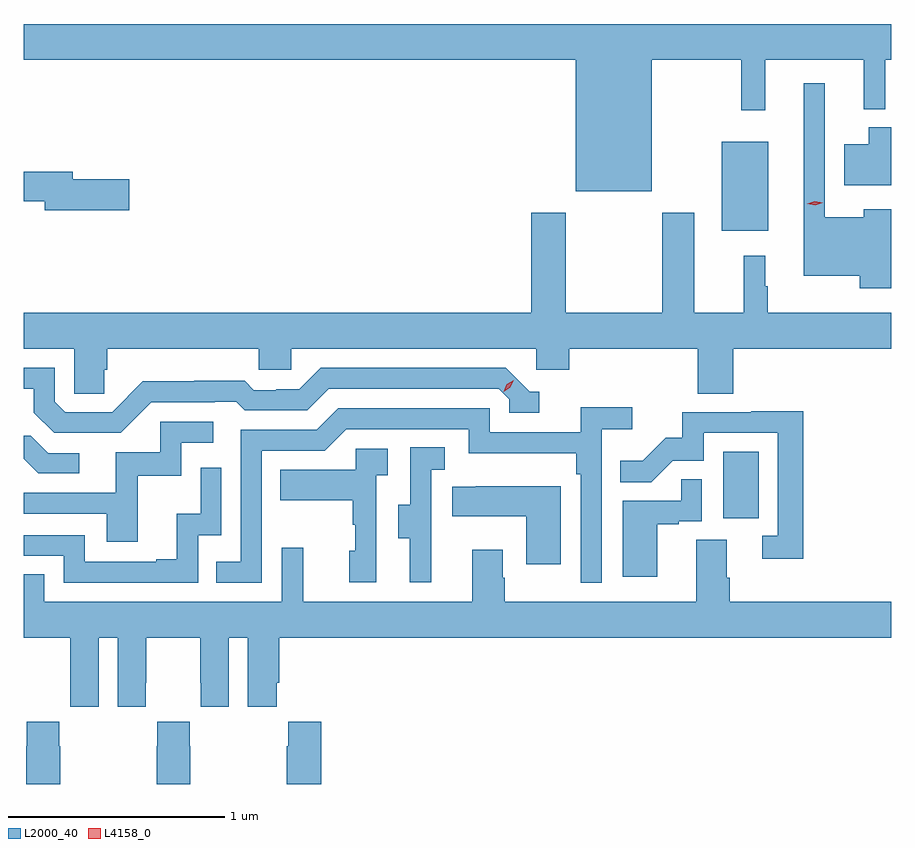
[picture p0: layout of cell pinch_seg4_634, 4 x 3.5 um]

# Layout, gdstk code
import gdstk
lib = gdstk.Library(unit=1e-6, precision=1e-09)
def R(c, l, rs):  # rectangles x0, y0, x1, y1
    for r in rs: c.add(gdstk.rectangle(r[:2], r[2:], *l))
def P(c, l, *ps):  # polygons
    for p in ps: c.add(gdstk.Polygon(p, *l))
L2000_40 = (2000, 40)
L4158_0 = (4158, 0)

pinch_seg4_634 = lib.new_cell('pinch_seg4_634')
R(pinch_seg4_634, L2000_40, [(1075.118,753.414,1075.282,753.721), (1075.112,754.739,1075.327,755.149)])
P(pinch_seg4_634, L2000_40, [(1074.79,755.528),(1075.203,755.528),(1075.203,755.295),(1075.313,755.295),(1075.313,755.528),(1075.766,755.528),(1075.766,755.3),(1075.866,755.3),(1075.866,755.528),(1075.894,755.528),(1075.894,755.692),(1071.894,755.692),(1071.894,755.528),(1074.44,755.528),(1074.44,754.922),(1074.79,754.922)],
  [(1075.894,754.837),(1075.766,754.837),(1075.766,754.801),(1075.587,754.801),(1075.587,755.419),(1075.49,755.419),(1075.49,754.532),(1075.749,754.532),(1075.749,754.475),(1075.894,754.475)],
  [(1075.894,755.215),(1075.79,755.215),(1075.79,755.137),(1075.676,755.137),(1075.676,754.949),(1075.894,754.949)],
  [(1072.381,754.976),(1072.12,754.976),(1072.12,755.012),(1071.894,755.012),(1071.894,754.876),(1071.992,754.876),(1071.992,754.834),(1072.381,754.834)],
  [(1072.265,754.098),(1072.28,754.098),(1072.28,754.196),(1072.977,754.196),(1072.977,754.098),(1073.127,754.098),(1073.127,754.196),(1074.258,754.196),(1074.258,754.098),(1074.41,754.098),(1074.41,754.196),(1075.001,754.196),(1075.001,753.988),(1075.166,753.988),(1075.166,754.196),(1075.894,754.196),(1075.894,754.36),(1075.324,754.36),(1075.324,754.484),(1075.312,754.484),(1075.312,754.624),(1075.213,754.624),(1075.213,754.36),(1074.985,754.36),(1074.985,754.822),(1074.838,754.822),(1074.838,754.36),(1074.393,754.36),(1074.393,754.822),(1074.233,754.822),(1074.233,754.36),(1071.894,754.36),(1071.894,754.196),(1072.128,754.196),(1072.128,753.988),(1072.265,753.988)],
  [(1072.482,753.948),(1072.775,753.948),(1072.775,753.951),(1072.874,753.951),(1072.913,753.912),(1073.202,753.912),(1073.301,754.011),(1074.084,754.011),(1074.132,753.963),(1074.132,753.9),(1074.271,753.9),(1074.271,753.996),(1074.228,753.996),(1074.117,754.107),(1073.264,754.107),(1073.165,754.008),(1073.058,754.008),(1073.058,754.005),(1072.955,754.005),(1072.913,754.048),(1072.68,754.048),(1072.68,754.045),(1072.444,754.045),(1072.302,753.903),(1072.086,753.903),(1072.038,753.951),(1072.038,754.107),(1071.894,754.107),(1071.894,754.011),(1071.941,754.011),(1071.941,753.901),(1072.035,753.807),(1072.341,753.807)],
  [(1072.992,753.726),(1073.283,753.726),(1073.382,753.825),(1073.946,753.825),(1073.946,753.713),(1074.442,753.713),(1074.442,753.617),(1074.462,753.617),(1074.462,753.117),(1074.558,753.117),(1074.558,753.824),(1074.7,753.824),(1074.7,753.926),(1074.461,753.926),(1074.461,753.81),(1074.042,753.81),(1074.042,753.921),(1073.345,753.921),(1073.246,753.822),(1072.896,753.822),(1072.896,753.213),(1072.783,753.213),(1072.783,753.117),(1072.992,753.117)],
  [(1075.487,753.908),(1075.249,753.908),(1075.249,753.903),(1074.931,753.903),(1074.931,753.786),(1074.854,753.786),(1074.747,753.679),(1074.643,753.679),(1074.643,753.58),(1074.787,753.58),(1074.885,753.678),(1075.029,753.678),(1075.029,753.807),(1075.371,753.807),(1075.371,753.333),(1075.299,753.333),(1075.299,753.228),(1075.487,753.228)],
  [(1072.421,753.609),(1072.62,753.609),(1072.62,753.762),(1072.768,753.762),(1072.768,753.858),(1072.524,753.858),(1072.524,753.717),(1072.319,753.717),(1072.319,753.531),(1071.894,753.531),(1071.894,753.435),(1072.277,753.435),(1072.277,753.306),(1072.421,753.306)],
  [(1072.15,753.714),(1072.008,753.714),(1071.928,753.794),(1071.894,753.794),(1071.894,753.689),(1071.962,753.621),(1072.15,753.621)],
  [(1073.774,753.333),(1073.772,753.333),(1073.772,753.637),(1073.836,753.637),(1073.836,753.74),(1073.676,753.74),(1073.676,753.477),(1073.621,753.477),(1073.621,753.322),(1073.675,753.322),(1073.675,753.12),(1073.774,753.12)],
  [(1073.52,753.611),(1073.572,753.611),(1073.572,753.735),(1073.424,753.735),(1073.424,753.637),(1073.077,753.637),(1073.077,753.497),(1073.412,753.497),(1073.412,753.383),(1073.422,753.383),(1073.422,753.264),(1073.396,753.264),(1073.396,753.12),(1073.52,753.12)],
  [(1072.698,753.336),(1072.806,753.336),(1072.806,753.646),(1072.71,753.646),(1072.71,753.434),(1072.601,753.434),(1072.601,753.226),(1072.505,753.226),(1072.505,753.213),(1072.176,753.213),(1072.176,753.336),(1071.894,753.336),(1071.894,753.24),(1072.08,753.24),(1072.08,753.117),(1072.698,753.117)],
  [(1074.814,753.387),(1074.914,753.387),(1074.914,753.399),(1075.02,753.399),(1075.02,753.593),(1074.925,753.593),(1074.925,753.495),(1074.656,753.495),(1074.656,753.144),(1074.814,753.144)],
  [(1074.37,753.562),(1073.977,753.562),(1073.977,753.559),(1073.869,753.559),(1073.869,753.422),(1074.212,753.422),(1074.212,753.201),(1074.37,753.201)],
  [(1072.24,752.864),(1072.328,752.864),(1072.328,752.544),(1072.458,752.544),(1072.458,752.656),(1072.459,752.656),(1072.459,752.864),(1072.709,752.864),(1072.709,752.656),(1072.71,752.656),(1072.71,752.544),(1072.84,752.544),(1072.84,752.864),(1072.928,752.864),(1072.928,752.544),(1073.062,752.544),(1073.062,752.656),(1073.072,752.656),(1073.072,752.864),(1075.894,752.864),(1075.894,753.028),(1075.148,753.028),(1075.148,753.14),(1075.135,753.14),(1075.135,753.314),(1074.995,753.314),(1074.995,753.028),(1074.111,753.028),(1074.111,753.14),(1074.103,753.14),(1074.103,753.268),(1073.963,753.268),(1073.963,753.028),(1073.183,753.028),(1073.183,753.277),(1073.085,753.277),(1073.085,753.028),(1071.99,753.028),(1071.99,753.155),(1071.894,753.155),(1071.894,752.864),(1072.109,752.864),(1072.109,752.656),(1072.11,752.656),(1072.11,752.544),(1072.24,752.544)],
  [(1073.267,752.476),(1073.113,752.476),(1073.113,752.363),(1073.107,752.363),(1073.107,752.189),(1073.267,752.189)],
  [(1072.662,752.363),(1072.659,752.363),(1072.659,752.476),(1072.509,752.476),(1072.509,752.363),(1072.507,752.363),(1072.507,752.189),(1072.662,752.189)],
  [(1072.062,752.363),(1072.059,752.363),(1072.059,752.476),(1071.909,752.476),(1071.909,752.363),(1071.907,752.363),(1071.907,752.189),(1072.062,752.189)])
P(pinch_seg4_634, L4158_0, [(1074.107,753.998),(1074.107,753.998),(1074.122,754.031),(1074.153,754.051),(1074.153,754.051),(1074.153,754.05),(1074.138,754.018),(1074.107,753.998)],
  [(1075.542,754.856),(1075.505,754.863),(1075.505,754.864),(1075.505,754.864),(1075.54,754.876),(1075.577,754.869),(1075.577,754.869),(1075.577,754.869)])

lib.write_gds('pinch_seg4_634.gds')
